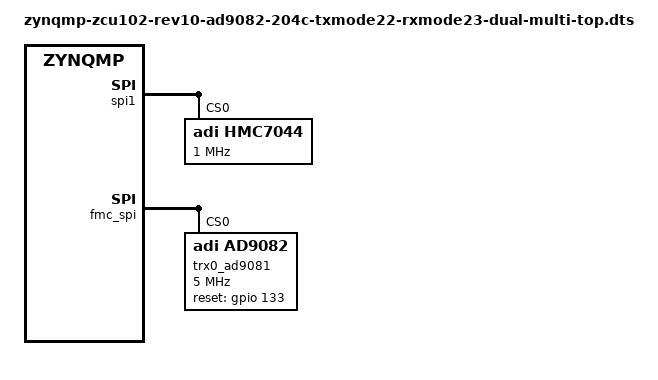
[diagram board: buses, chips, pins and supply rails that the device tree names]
// SPDX-License-Identifier: GPL-2.0
/*
 * Analog Devices AD9082-FMC-EBZ
 * https://wiki.analog.com/resources/eval/user-guides/quadmxfe/quick-start
 * https://wiki.analog.com/resources/tools-software/linux-drivers/iio-mxfe/ad9081
 *
 * hdl_project: <ad9082_fmca_ebz/zcu102>
 * board_revision: <>
 *
 * Copyright (C) 2021 Analog Devices Inc.
 */

// ad9081_204b_txmode_0_rxmode_1: 204C use case with Subclass 0,
// Med. lane rate, using gearbox and PRGOGDIV
//     * 2Txs / 2Rxs per MxFE (dual link)
//     * DAC_CLK = 11.52GSPS
//     * ADC_CLK = 3.84GSPS
//     * Tx I/Q Rate: 960 MSPS (Interpolation of 12x1)
//     * Rx I/Q Rate: 960 MSPS (Decimation of 4x1)
//     * DAC JESD204B: Mode 22, L=2, M=2, N=N'=12
//     * ADC JESD204B: Mode 23, L=2, M=2, N=N'=12
//     * DAC-Side JESD204B Lane Rate: 11.88Gbps
//     * ADC-Side JESD204B Lane Rate: 11.88Gbps

// HDL Synthesis Parameters:
// JESD_MODE=64B66B \
// RX_RATE=12 \
// RX_PLL_SEL=2 \
// TX_RATE=12 \
// TX_PLL_SEL=2 \
// REF_CLK_RATE=180 \
// RX_JESD_M=2 \
// RX_JESD_L=2 \
// RX_JESD_S=4 \
// RX_JESD_NP=12 \
// TX_JESD_M=2 \
// TX_JESD_L=2 \
// TX_JESD_S=2 \
// TX_JESD_NP=12

#include "zynqmp-zcu102-rev10-ad9081.dts"
#include <dt-bindings/jesd204/device-states.h>

#define JESD204_FSM_STOP_STATES		1
#define JESD204_SUBCLASS		1

&fpga_axi {
	top_device: jesd204-top-device {
		compatible = "adi,jesd204-top-device-1.0";

		jesd204-device;
		#jesd204-cells = <2>;
		jesd204-top-device = <1>; /* This is the TOP device for TOPOLOGY 1*/
		jesd204-link-ids = <FRAMER_LINK1_RX DEFRAMER_LINK1_TX>;
		//jesd204-ignore-errors;

#ifdef JESD204_FSM_STOP_STATES
		jesd204-stop-states = <
			JESD204_FSM_STATE_LINK_SETUP
			JESD204_FSM_STATE_CLOCKS_ENABLE
			JESD204_FSM_STATE_LINK_ENABLE>;
#endif

		jesd204-inputs =
			<&axi_ad9081_rx_jesd2 1 FRAMER_LINK1_RX>,
			<&axi_ad9081_core_tx2 1 DEFRAMER_LINK1_TX>;

		adi,jesd-links {
			#size-cells = <0>;
			#address-cells = <1>;

			rx_jesd_l0: link@0 {
				reg = <FRAMER_LINK1_RX>;

				adi,sample-rate = /bits/ 64 <960000000>;

				adi,subclass = <JESD204_SUBCLASS>;	/* JESD SUBCLASS 0,1,2 */
				adi,version = <2>;			/* JESD VERSION 0=204A,1=204B,2=204C */
				adi,dual-link = <1>;			/* JESD Dual Link Mode */
				adi,converters-per-device = <2>;	/* JESD M */
				adi,octets-per-frame = <6>;		/* JESD F */
				adi,frames-per-multiframe = <128>;	/* JESD K */
				adi,converter-resolution = <12>;	/* JESD N */
				adi,bits-per-sample = <12>;		/* JESD NP' */
				adi,control-bits-per-sample = <0>;	/* JESD CS */
				adi,lanes-per-device = <2>;		/* JESD L */
				adi,samples-per-converter-per-frame = <4>; /* JESD S */
				adi,high-density = <0>;			/* JESD HD */
				adi,scrambling = <1>;
			};

			tx_jesd_l0: link@1 {
				#address-cells = <1>;
				#size-cells = <0>;
				reg = <DEFRAMER_LINK1_TX>;

				adi,sample-rate = /bits/ 64 <960000000>;

				adi,subclass = <JESD204_SUBCLASS>;	/* JESD SUBCLASS 0,1,2 */
				adi,version = <2>;			/* JESD VERSION 0=204A,1=204B,2=204C */
				adi,dual-link = <1>;			/* JESD Dual Link Mode */
				adi,converters-per-device = <2>;	/* JESD M */
				adi,octets-per-frame = <3>;		/* JESD F */
				adi,frames-per-multiframe = <256>;	/* JESD K */
				adi,converter-resolution = <12>;	/* JESD N */
				adi,bits-per-sample = <12>;		/* JESD NP' */
				adi,control-bits-per-sample = <0>;	/* JESD CS */
				adi,lanes-per-device = <2>;		/* JESD L */
				adi,samples-per-converter-per-frame = <2>; /* JESD S */
				adi,high-density = <0>;			/* JESD HD */
				adi,scrambling = <1>;
			};
		};
	};
	axi_intc: axi-intc@80000000 {
		#interrupt-cells = <2>;
		compatible = "xlnx,axi-intc-4.1", "xlnx,xps-intc-1.00.a";
		interrupt-controller;
		reg = <0x80000000 0x10000>;
		interrupt-parent = <&gic>;
		interrupts = <0 110 IRQ_TYPE_LEVEL_HIGH>;
		xlnx,kind-of-intr = <0xfff0>;
		xlnx,num-intr-inputs = <0x4>;
	};
	rx_dma2: dma2@80010000 {
		compatible = "adi,axi-dmac-1.00.a";
		reg = <0x80010000 0x10000>;
		#dma-cells = <1>;
		#clock-cells = <0>;
		interrupt-parent = <&axi_intc>;
		interrupts = <0 IRQ_TYPE_LEVEL_HIGH>;
		clocks = <&zynqmp_clk 73>;
	};
	tx_dma2: dma2@80040000  {
		compatible = "adi,axi-dmac-1.00.a";
		reg = <0x80040000 0x10000>;
		#dma-cells = <1>;
		#clock-cells = <0>;
		interrupt-parent = <&axi_intc>;
		interrupts = <1 IRQ_TYPE_LEVEL_HIGH>;
		clocks = <&zynqmp_clk 73>;
	};
	axi_ad9081_core_rx2: axi-ad9081-l2-rx-hpc2@80090000 {
		compatible = "adi,axi-adc-tpl-so-10.0.a";
		reg = <0x80090000 0x8000>;
		dmas = <&rx_dma2 0>;
		dma-names = "rx";
		clocks = <&trx0_ad9081 2>;
		clock-names = "sampl_clk";
	};
	axi_ad9081_core_tx2: axi-ad9081-l2-tx-hpc2@800a0000 {
		compatible = "adi,axi-ad9081-tx-1.0";
		reg = <0x800a0000 0x4000>;
		dmas = <&tx_dma2 0>;
		dma-names = "tx";
		clocks = <&trx0_ad9081 1>;
		clock-names = "sampl_clk";
		adi,axi-data-offload-connected = <&axi_data_offload_tx2>;
		jesd204-device;
		#jesd204-cells = <2>;
		jesd204-inputs = <&axi_ad9081_tx_jesd2 1 DEFRAMER_LINK1_TX>;
	};
	axi_ad9081_rx_jesd2: axi-jesd204-rx2@80020000 {
		compatible = "adi,axi-jesd204-rx-1.0";
		reg = <0x80020000 0x1000>;
		interrupt-parent = <&axi_intc>;
		interrupts = <2 IRQ_TYPE_LEVEL_HIGH>;
		clocks = <&zynqmp_clk 71>, <&hmc7044 10>, <&axi_ad9081_adxcvr_rx2 1>, <&axi_ad9081_adxcvr_rx2 0>;
		clock-names = "s_axi_aclk", "device_clk", "link_clk", "lane_clk";
		#clock-cells = <0>;
		clock-output-names = "jesd_rx_lane_clk2";
		jesd204-device;
		#jesd204-cells = <2>;
		jesd204-inputs = <&axi_ad9081_adxcvr_rx2 1 FRAMER_LINK1_RX>;
	};
	axi_ad9081_tx_jesd2: axi-jesd204-tx2@80050000 {
		compatible = "adi,axi-jesd204-tx-1.0";
		reg = <0x80050000 0x1000>;
		interrupt-parent = <&axi_intc>;
		interrupts = <3 IRQ_TYPE_LEVEL_HIGH>;
		clocks = <&zynqmp_clk 71>, <&hmc7044 6>, <&axi_ad9081_adxcvr_tx2 1>, <&axi_ad9081_adxcvr_tx2 0>;
		clock-names = "s_axi_aclk", "device_clk", "link_clk", "lane_clk";
		#clock-cells = <0>;
		clock-output-names = "jesd_tx_lane_clk2";
		jesd204-device;
		#jesd204-cells = <2>;
		jesd204-inputs = <&axi_ad9081_adxcvr_tx2 1 DEFRAMER_LINK1_TX>;
	};
	axi_ad9081_adxcvr_rx2: axi-adxcvr-rx2@80030000 {
		#address-cells = <1>;
		#size-cells = <0>;
		compatible = "adi,axi-adxcvr-1.0";
		reg = <0x80030000 0x1000>;
		clocks = <&hmc7044 12>;
		clock-names = "conv";
		#clock-cells = <1>;
		clock-output-names = "rx_gt_clk2", "rx_out_clk2";
		adi,sys-clk-select = <XCVR_QPLL>;
		adi,out-clk-select = <XCVR_PROGDIV_CLK>;
		adi,use-lpm-enable;
		jesd204-device;
		#jesd204-cells = <2>;
		jesd204-inputs =  <&hmc7044 1 FRAMER_LINK1_RX>;
	};
	axi_ad9081_adxcvr_tx2: axi-adxcvr-tx2@80060000 {
		#address-cells = <1>;
		#size-cells = <0>;
		compatible = "adi,axi-adxcvr-1.0";
		reg = <0x80060000 0x1000>;
		clocks = <&hmc7044 12>;
		clock-names = "conv";
		#clock-cells = <1>;
		clock-output-names = "tx_gt_clk2", "tx_out_clk2";
		adi,sys-clk-select = <XCVR_QPLL>;
		adi,out-clk-select = <XCVR_PROGDIV_CLK>;
		jesd204-device;
		#jesd204-cells = <2>;
		jesd204-inputs =  <&hmc7044 1 DEFRAMER_LINK1_TX>;
	};

	axi_data_offload_tx2: axi-data-offload-tx2@80080000 {
		compatible = "adi,axi-data-offload-1.0.a";
		reg = <0x80080000 0x10000>;
		// adi,bringup;
		// adi,oneshot;
		// adi,bypass;
		// adi,sync-config = <2>;
		// adi,transfer-length = /bits/ 64 <0x10000>; // 2**16 bytes
	};

	axi_data_offload_rx2: axi-data-offload-rx2@80070000 {
		compatible = "adi,axi-data-offload-1.0.a";
		reg = <0x80070000 0x10000>;
	};

};

&axi_ad9081_rx_jesd {
	clocks = <&zynqmp_clk 71>, <&hmc7044 10>, <&axi_ad9081_adxcvr_rx 1>, <&axi_ad9081_adxcvr_rx 0>;
	clock-names = "s_axi_aclk", "device_clk", "link_clk", "lane_clk";
};

&axi_ad9081_tx_jesd {
	clocks = <&zynqmp_clk 71>, <&hmc7044 6>, <&axi_ad9081_adxcvr_tx 1>, <&axi_ad9081_adxcvr_tx 0>;
	clock-names = "s_axi_aclk", "device_clk", "link_clk", "lane_clk";
};

&axi_ad9081_adxcvr_rx {
	adi,sys-clk-select = <XCVR_QPLL>;
	adi,out-clk-select = <XCVR_PROGDIV_CLK>;
};

&axi_ad9081_adxcvr_tx {
	adi,sys-clk-select = <XCVR_QPLL>;
	adi,out-clk-select = <XCVR_PROGDIV_CLK>;
};

&spi1 {
	status = "okay";

	/delete-node/ hmc7044@0;

	hmc7044: hmc7044@0 {
		#address-cells = <1>;
		#size-cells = <0>;
		#clock-cells = <1>;
		compatible = "adi,hmc7044";
		reg = <0>;
		spi-max-frequency = <1000000>;

		jesd204-device;
		#jesd204-cells = <2>;
		jesd204-sysref-provider;

		adi,jesd204-max-sysref-frequency-hz = <2000000>; /* 2 MHz */

		/*
		 * There are different versions of the AD9081-FMCA-EBZ & AD9082-FMCA-EBZ
		 * VCXO = 122.880 MHz, XO = 122.880MHz (AD9081-FMC-EBZ & AD9082-FMC-EBZ)
		 * VCXO = 100.000 MHz, XO = 100.000MHz (AD9081-FMC-EBZ-A2 & AD9082-FMC-EBZ-A2)
		 * To determine which board is which, read the freqency printed on the VCXO
		 * or use the fru-dump utility:
		 * #fru-dump -b /sys/bus/i2c/devices/15-0050/eeprom
		 */

		//adi,pll1-clkin-frequencies = <122880000 30720000 0 0>;
		//adi,vcxo-frequency = <122880000>;

		adi,pll1-clkin-frequencies = <100000000 10000000 0 0>;
		adi,vcxo-frequency = <100000000>;

		adi,pll1-loop-bandwidth-hz = <200>;

		adi,pll2-output-frequency = <2880000000>;

		adi,sysref-timer-divider = <1024>;
		adi,pulse-generator-mode = <0>;

		adi,clkin0-buffer-mode  = <0x07>;
		adi,clkin1-buffer-mode  = <0x07>;
		adi,oscin-buffer-mode = <0x15>;

		adi,pll1-ref-prio-ctrl = <0xE5>; /* prefer CLKIN1 */

		adi,gpi-controls = <0x00 0x00 0x00 0x00>;
		adi,gpo-controls = <0x37 0x33 0x00 0x00>;

		clock-output-names =
			"hmc7044_out0", "hmc7044_out1", "hmc7044_out2",
			"hmc7044_out3", "hmc7044_out4", "hmc7044_out5",
			"hmc7044_out6", "hmc7044_out7", "hmc7044_out8",
			"hmc7044_out9", "hmc7044_out10", "hmc7044_out11",
			"hmc7044_out12", "hmc7044_out13";

		hmc7044_c0: channel@0 {
			reg = <0>;
			adi,extended-name = "CORE_CLK_RX";
			adi,divider = <48>;
			adi,driver-mode = <HMC7044_DRIVER_MODE_LVDS>;

		};
		hmc7044_c2: channel@2 {
			reg = <2>;
			adi,extended-name = "DEV_REFCLK";
			adi,divider = <4>; /* 720 MHz */
			adi,driver-mode = <HMC7044_DRIVER_MODE_LVDS>;
		};

		hmc7044_c3: channel@3 {
			reg = <3>;
			adi,extended-name = "DEV_SYSREF";
			adi,divider = <768>;
			adi,driver-mode = <HMC7044_DRIVER_MODE_LVDS>;
#if (JESD204_SUBCLASS == 1)
			adi,jesd204-sysref-chan;
#else
			adi,disable; /* Completely disable channel */
#endif
		};

		hmc7044_c6: channel@6 {
			reg = <6>;
			adi,extended-name = "CORE_CLK_TX";
			adi,divider = <24>;
			adi,driver-mode = <HMC7044_DRIVER_MODE_LVDS>;
		};

		hmc7044_c8: channel@8 {
			reg = <8>;
			adi,extended-name = "FPGA_REFCLK1";
			adi,divider = <64>;
			adi,driver-mode = <HMC7044_DRIVER_MODE_LVDS>;
		};

		hmc7044_c10: channel@10 {
			reg = <10>;
			adi,extended-name = "CORE_CLK_RX_ALT";
			adi,divider = <48>;
			adi,driver-mode = <HMC7044_DRIVER_MODE_LVDS>;
		};

		hmc7044_c12: channel@12 {
			reg = <12>;
			adi,extended-name = "FPGA_REFCLK2";
			adi,divider = <8>;
			adi,driver-mode = <HMC7044_DRIVER_MODE_LVDS>;
		};

		hmc7044_c13: channel@13 {
			reg = <13>;
			adi,extended-name = "FPGA_SYSREF";
			adi,divider = <768>;
			adi,driver-mode = <HMC7044_DRIVER_MODE_LVDS>;
#if (JESD204_SUBCLASS == 1)
			adi,jesd204-sysref-chan;
#else
			adi,disable; /* Completely disable channel */
#endif
		};
	};
};

&fmc_spi {
	/delete-node/ ad9081@0;

	trx0_ad9081: ad9082@0 {
		#address-cells = <1>;
		#size-cells = <0>;
		compatible = "adi,ad9082";
		reg = <0>;
		spi-max-frequency = <5000000>;

		reset-gpios = <&gpio 133 0>;

		/* Clocks */
		clocks = <&hmc7044 2>;
		clock-names = "dev_clk";

		clock-output-names = "rx_sampl_clk", "tx_sampl_clk", "rx_sampl_clk_link2";
		#clock-cells = <1>;

		jesd204-device;
		#jesd204-cells = <2>;
		jesd204-top-device = <0>; /* This is the TOP device */
		jesd204-link-ids = <FRAMER_LINK0_RX DEFRAMER_LINK0_TX>;
		//jesd204-ignore-errors;

#ifdef JESD204_FSM_STOP_STATES
		jesd204-stop-states = <
			JESD204_FSM_STATE_LINK_SETUP
			JESD204_FSM_STATE_CLOCKS_ENABLE
			JESD204_FSM_STATE_LINK_ENABLE>;
#endif

		jesd204-inputs =
			<&axi_ad9081_core_rx 0 FRAMER_LINK0_RX>,
			<&axi_ad9081_core_tx 0 DEFRAMER_LINK0_TX>;

#if (JESD204_SUBCLASS == 0)
		adi,continuous-sysref-mode-disable;
#endif

		adi,dual-link-use-separate-tpl-enable;

		adi,tx-dacs {
			#size-cells = <0>;
			#address-cells = <1>;

			adi,dac-frequency-hz = /bits/ 64 <11520000000>;

			adi,main-data-paths {
				#address-cells = <1>;
				#size-cells = <0>;

				adi,interpolation = <12>;

				ad9081_dac0: dac@0 {
					reg = <0>;
					adi,crossbar-select = <&ad9081_tx_fduc_chan0>;
					adi,nco-frequency-shift-hz = /bits/ 64 <1000000000>; /* 1000 MHz */
				};
				ad9081_dac3: dac@3 {
					reg = <3>;
					adi,crossbar-select = <&ad9081_tx_fduc_chan4>;
					adi,maindp-dac-1x-non1x-crossbar-select = <2>; /* Required to map correct datapath !*/
					adi,nco-frequency-shift-hz = /bits/ 64 <1100000000>; /* 1100 MHz */
				};
			};

			adi,channelizer-paths {
				#address-cells = <1>;
				#size-cells = <0>;
				adi,interpolation = <1>;

				ad9081_tx_fduc_chan0: channel@0 {
					reg = <0>;
					adi,gain = <2048>; /* 2048 * 10^(gain_dB/20) */
					adi,nco-frequency-shift-hz =  /bits/ 64 <0>;

				};

				/* Dual Link mapped to FDUC 4 through FDUC 7 */
				ad9081_tx_fduc_chan4: channel@4 {
					reg = <4>;
					adi,gain = <2048>; /* 2048 * 10^(gain_dB/20) */
					adi,nco-frequency-shift-hz =  /bits/ 64 <0>;

				};
			};

			adi,jesd-links {
				#size-cells = <0>;
				#address-cells = <1>;

				ad9081_tx_jesd_l0: link@0 {
					#address-cells = <1>;
					#size-cells = <0>;
					reg = <0>;

					adi,logical-lane-mapping = /bits/ 8 <0 2 7 7 1 7 7 3>;

					adi,link-mode = <22>;			/* JESD Quick Configuration Mode */
					adi,subclass = <JESD204_SUBCLASS>;	/* JESD SUBCLASS 0,1,2 */
					adi,version = <2>;			/* JESD VERSION 0=204A,1=204B,2=204C */
					adi,dual-link = <1>;			/* JESD Dual Link Mode */

					adi,converters-per-device = <2>;	/* JESD M */
					adi,octets-per-frame = <3>;		/* JESD F */

					adi,frames-per-multiframe = <256>;	/* JESD K */
					adi,converter-resolution = <12>;	/* JESD N */
					adi,bits-per-sample = <12>;		/* JESD NP' */
					adi,control-bits-per-sample = <0>;	/* JESD CS */
					adi,lanes-per-device = <2>;		/* JESD L */
					adi,samples-per-converter-per-frame = <2>; /* JESD S */
					adi,high-density = <0>;			/* JESD HD */
				};

				/*
				 * When using two JESD204B/C links (dual link), the samples from the
				 * 1st link are mapped to FDUC 0 through FDUC 3 whereas the
				 * samples from the 2nd link are always mapped to FDUC 4 through
				 * FDUC 7.
				*/

				ad9081_tx_jesd_l1: link@1 {
					#address-cells = <1>;
					#size-cells = <0>;
					reg = <1>;

					adi,logical-lane-mapping = /bits/ 8 <7 7 7 7 7 1 0 7>;

					adi,link-mode = <22>;			/* JESD Quick Configuration Mode */
					adi,subclass = <JESD204_SUBCLASS>;	/* JESD SUBCLASS 0,1,2 */
					adi,version = <2>;			/* JESD VERSION 0=204A,1=204B,2=204C */
					adi,dual-link = <1>;			/* JESD Dual Link Mode */

					adi,converters-per-device = <2>;	/* JESD M */
					adi,octets-per-frame = <3>;		/* JESD F */

					adi,frames-per-multiframe = <256>;	/* JESD K */
					adi,converter-resolution = <12>;	/* JESD N */
					adi,bits-per-sample = <12>;		/* JESD NP' */
					adi,control-bits-per-sample = <0>;	/* JESD CS */
					adi,lanes-per-device = <2>;		/* JESD L */
					adi,samples-per-converter-per-frame = <2>; /* JESD S */
					adi,high-density = <0>;			/* JESD HD */
				};
			};
		};

		adi,rx-adcs {
			#size-cells = <0>;
			#address-cells = <1>;

			adi,adc-frequency-hz = /bits/ 64 <3840000000>;

			adi,main-data-paths {
				#address-cells = <1>;
				#size-cells = <0>;

				ad9081_adc0: adc@0 {
					reg = <0>;
					adi,decimation = <4>;
					adi,nco-frequency-shift-hz =  /bits/ 64 <1000000000>;
					adi,nco-mixer-mode = <AD9081_ADC_NCO_VIF>;
					//adi,crossbar-select = <&ad9081_rx_fddc_chan0>, <&ad9081_rx_fddc_chan2>; /* Static for now */
				};
				ad9081_adc1: adc@1 {
					reg = <1>;
					adi,decimation = <4>;
					adi,nco-frequency-shift-hz =  /bits/ 64 <(1000000000)>;
					adi,nco-mixer-mode = <AD9081_ADC_NCO_VIF>;
					//adi,crossbar-select = <&ad9081_rx_fddc_chan1>, <&ad9081_rx_fddc_chan3>; /* Static for now */
				};

			};

			adi,channelizer-paths {
				#address-cells = <1>;
				#size-cells = <0>;

				ad9081_rx_fddc_chan0: channel@0 {
					reg = <0>;
					adi,decimation = <1>;
					adi,gain = <2048>; /* 2048 * 10^(gain_dB/20) */
					adi,nco-frequency-shift-hz =  /bits/ 64 <0>;

				};
				ad9081_rx_fddc_chan1: channel@1 {
					reg = <1>;
					adi,decimation = <1>;
					adi,gain = <2048>; /* 2048 * 10^(gain_dB/20) */
					adi,nco-frequency-shift-hz =  /bits/ 64 <0>;
				};
			};

			adi,jesd-links {
				#size-cells = <0>;
				#address-cells = <1>;

				ad9081_rx_jesd_l0: link@0 {
					reg = <0>;
					adi,converter-select =
						<&ad9081_rx_fddc_chan0 FDDC_I>, <&ad9081_rx_fddc_chan0 FDDC_Q>;

					adi,logical-lane-mapping = /bits/ 8 <7 0 7 7 7 7 7 1>;

					adi,link-mode = <23>;			/* JESD Quick Configuration Mode */
					adi,subclass = <JESD204_SUBCLASS>;	/* JESD SUBCLASS 0,1,2 */
					adi,version = <2>;			/* JESD VERSION 0=204A,1=204B,2=204C */
					adi,dual-link = <1>;			/* JESD Dual Link Mode */

					adi,converters-per-device = <2>;	/* JESD M */
					adi,octets-per-frame = <6>;		/* JESD F */

					adi,frames-per-multiframe = <128>;	/* JESD K */
					adi,converter-resolution = <12>;	/* JESD N */
					adi,bits-per-sample = <12>;		/* JESD NP' */
					adi,control-bits-per-sample = <0>;	/* JESD CS */
					adi,lanes-per-device = <2>;		/* JESD L */
					adi,samples-per-converter-per-frame = <4>; /* JESD S */
					adi,high-density = <0>;			/* JESD HD */
				};

				ad9081_rx_jesd_l1: link@1 {
					reg = <1>;
					adi,converter-select =
						<&ad9081_rx_fddc_chan1 FDDC_I>, <&ad9081_rx_fddc_chan1 FDDC_Q>;

					adi,logical-lane-mapping = /bits/ 8 <7 7 7 7 1 0 7 7>;

					adi,link-mode = <23>;			/* JESD Quick Configuration Mode */
					adi,subclass = <JESD204_SUBCLASS>;	/* JESD SUBCLASS 0,1,2 */
					adi,version = <2>;			/* JESD VERSION 0=204A,1=204B,2=204C */
					adi,dual-link = <1>;			/* JESD Dual Link Mode */

					adi,converters-per-device = <2>;	/* JESD M */
					adi,octets-per-frame = <6>;		/* JESD F */

					adi,frames-per-multiframe = <128>;	/* JESD K */
					adi,converter-resolution = <12>;	/* JESD N */
					adi,bits-per-sample = <12>;		/* JESD NP' */
					adi,control-bits-per-sample = <0>;	/* JESD CS */
					adi,lanes-per-device = <2>;		/* JESD L */
					adi,samples-per-converter-per-frame = <4>; /* JESD S */
					adi,high-density = <0>;			/* JESD HD */
				};
			};
		};
	};
};

&axi_ad9081_core_tx {
	single-shot-output-gpios = <&gpio 139 0>;
};
